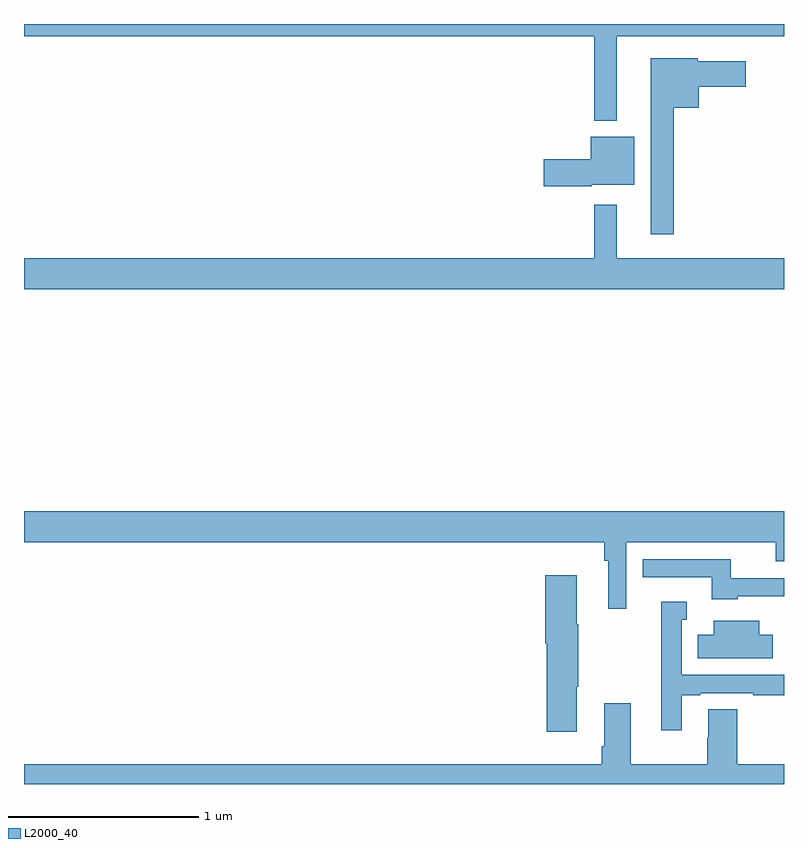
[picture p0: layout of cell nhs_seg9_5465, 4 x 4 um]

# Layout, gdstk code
import gdstk
lib = gdstk.Library(unit=1e-6, precision=1e-09)
def P(c, l, *ps):  # polygons
    for p in ps: c.add(gdstk.Polygon(p, *l))
L2000_40 = (2000, 40)

nhs_seg9_5465 = lib.new_cell('nhs_seg9_5465')
P(nhs_seg9_5465, L2000_40, [(432.121,1180.436),(433,1180.436),(433,1180.5),(429,1180.5),(429,1180.436),(432,1180.436),(432,1179.992),(432.121,1179.992)],
  [(432.421,1180.058),(432.55,1180.058),(432.55,1180.169),(432.799,1180.169),(432.799,1180.303),(432.546,1180.303),(432.546,1180.321),(432.299,1180.321),(432.299,1179.393),(432.421,1179.393)],
  [(431.988,1179.653),(432.211,1179.653),(432.211,1179.907),(431.984,1179.907),(431.984,1179.788),(431.736,1179.788),(431.736,1179.646),(431.988,1179.646)],
  [(433,1179.268),(432.121,1179.268),(432.121,1179.55),(432,1179.55),(432,1179.268),(429,1179.268),(429,1179.104),(433,1179.104)],
  [(432.171,1177.772),(432.956,1177.772),(432.956,1177.673),(433,1177.673),(433,1177.936),(429,1177.936),(429,1177.772),(432.055,1177.772),(432.055,1177.676),(432.074,1177.676),(432.074,1177.422),(432.171,1177.422)],
  [(432.756,1177.488),(433,1177.488),(433,1177.584),(432.72,1177.584),(432.72,1177.683),(432.256,1177.683),(432.256,1177.587),(432.62,1177.587),(432.62,1177.472),(432.756,1177.472)],
  [(431.908,1177.012),(431.916,1177.012),(431.916,1177.342),(431.908,1177.342),(431.908,1177.6),(431.744,1177.6),(431.744,1177.242),(431.75,1177.242),(431.75,1176.774),(431.908,1176.774)],
  [(432.463,1176.966),(432.559,1176.966),(432.559,1176.978),(432.838,1176.978),(432.838,1176.966),(433,1176.966),(433,1177.074),(432.462,1177.074),(432.462,1177.365),(432.487,1177.365),(432.487,1177.459),(432.354,1177.459),(432.354,1177.027),(432.353,1177.027),(432.353,1176.783),(432.463,1176.783)],
  [(432.94,1177.285),(432.871,1177.285),(432.871,1177.36),(432.629,1177.36),(432.629,1177.285),(432.547,1177.285),(432.547,1177.163),(432.94,1177.163)],
  [(433,1176.604),(432.755,1176.604),(432.755,1176.893),(432.602,1176.893),(432.602,1176.743),(432.595,1176.743),(432.595,1176.604),(432.193,1176.604),(432.193,1176.925),(432.053,1176.925),(432.053,1176.7),(432.041,1176.7),(432.041,1176.604),(429,1176.604),(429,1176.5),(433,1176.5)])

lib.write_gds('nhs_seg9_5465.gds')
